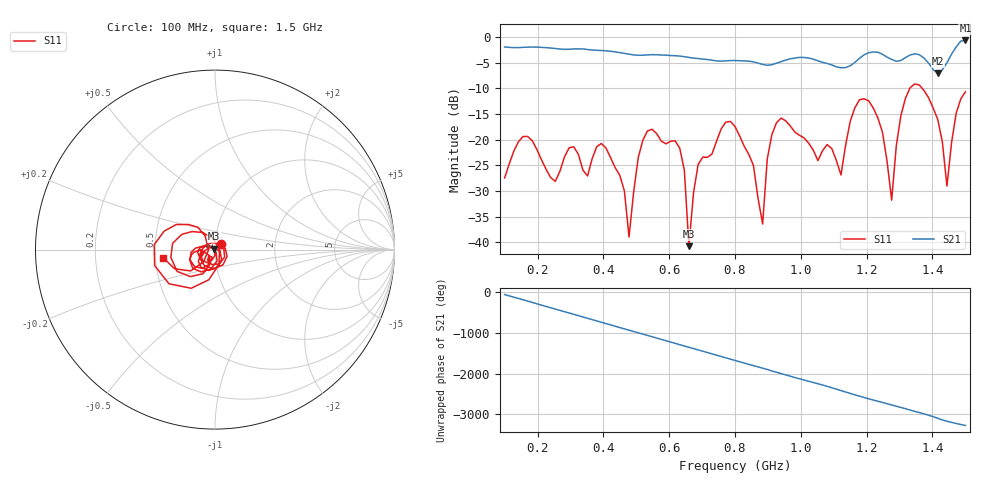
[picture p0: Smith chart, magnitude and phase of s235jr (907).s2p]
! NanoVNA-App
! Date: 2025-09-25 15:11:14
! Start: 100MHz Stop: 1,5GHz Points: 101
! S-Parameter data: F S11 S21 S12 S22
# Hz S RI R 50
!  Frequency  S11_Real  S11_Imag  S21_Real  S21_Imag  S12_Real  S12_Imag  S22_Real  S22_Imag
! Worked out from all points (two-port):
!   101 points, 100 MHz to 1.5 GHz, reference 50 ohm
!   highest |S21| = -0.69 dB at 1.5 GHz (marker M1); lowest = -7.1 dB at 1.416 GHz (marker M2)
!   |S21| within 3 dB of the highest: start of sweep to 623.3 MHz; 1.188 GHz to 1.256 GHz (67.86 MHz wide, 5.55 % of centre) (the widest 2 of 4)
!   lowest |S11| = -40.8 dB at 660 MHz (marker M3), VSWR 1.02, Z = 49.3 + j0.551 ohm
!   |S11| at or under -10 dB: start of sweep to 1.331 GHz; 1.368 GHz to end of sweep
!   S12 and S22 are empty: the file has one direction only
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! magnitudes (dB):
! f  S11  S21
! 100 MHz  -27.5  -2.0
! 156 MHz  -19.4  -2.0
! 338 MHz  -26.0  -2.4
! 408 MHz  -21.6  -2.7
! 478 MHz  -39.0  -3.4
! 520 MHz  -20.1  -3.6
! 576 MHz  -20.3  -3.5
! 632 MHz  -21.7  -3.7
! 660 MHz  -40.8  -4.0
! 688 MHz  -24.9  -4.2
! 800 MHz  -17.4  -4.6
! 884 MHz  -36.5  -5.4
! 898 MHz  -23.8  -5.5
! 926 MHz  -16.7  -5.1
! 1.038 GHz  -22.1  -4.3
! 1.122 GHz  -26.9  -6.0
! 1.206 GHz  -12.4  -3.1
! 1.276 GHz  -31.8  -4.4
! 1.332 GHz  -9.9  -3.5
! 1.416 GHz  -16.1  -7.1
! 1.444 GHz  -29.1  -5.0
! 1.5 GHz  -10.7  -0.7
